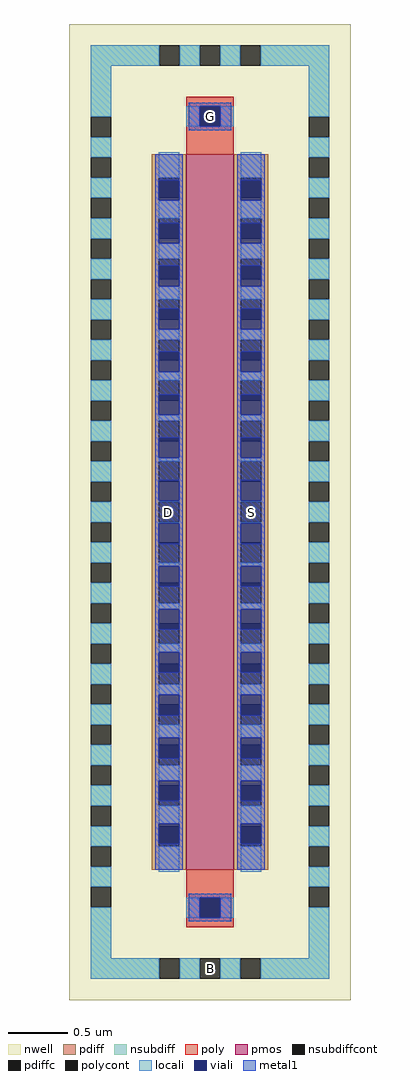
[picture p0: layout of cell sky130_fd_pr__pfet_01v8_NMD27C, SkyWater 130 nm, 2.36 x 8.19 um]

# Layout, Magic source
magic
tech sky130A
magscale 1 2
<< nwell >>
rect -236 -819 236 819
<< pmos >>
rect -40 -600 40 600
<< pdiff >>
rect -98 561 -40 600
rect -98 527 -86 561
rect -52 527 -40 561
rect -98 493 -40 527
rect -98 459 -86 493
rect -52 459 -40 493
rect -98 425 -40 459
rect -98 391 -86 425
rect -52 391 -40 425
rect -98 357 -40 391
rect -98 323 -86 357
rect -52 323 -40 357
rect -98 289 -40 323
rect -98 255 -86 289
rect -52 255 -40 289
rect -98 221 -40 255
rect -98 187 -86 221
rect -52 187 -40 221
rect -98 153 -40 187
rect -98 119 -86 153
rect -52 119 -40 153
rect -98 85 -40 119
rect -98 51 -86 85
rect -52 51 -40 85
rect -98 17 -40 51
rect -98 -17 -86 17
rect -52 -17 -40 17
rect -98 -51 -40 -17
rect -98 -85 -86 -51
rect -52 -85 -40 -51
rect -98 -119 -40 -85
rect -98 -153 -86 -119
rect -52 -153 -40 -119
rect -98 -187 -40 -153
rect -98 -221 -86 -187
rect -52 -221 -40 -187
rect -98 -255 -40 -221
rect -98 -289 -86 -255
rect -52 -289 -40 -255
rect -98 -323 -40 -289
rect -98 -357 -86 -323
rect -52 -357 -40 -323
rect -98 -391 -40 -357
rect -98 -425 -86 -391
rect -52 -425 -40 -391
rect -98 -459 -40 -425
rect -98 -493 -86 -459
rect -52 -493 -40 -459
rect -98 -527 -40 -493
rect -98 -561 -86 -527
rect -52 -561 -40 -527
rect -98 -600 -40 -561
rect 40 561 98 600
rect 40 527 52 561
rect 86 527 98 561
rect 40 493 98 527
rect 40 459 52 493
rect 86 459 98 493
rect 40 425 98 459
rect 40 391 52 425
rect 86 391 98 425
rect 40 357 98 391
rect 40 323 52 357
rect 86 323 98 357
rect 40 289 98 323
rect 40 255 52 289
rect 86 255 98 289
rect 40 221 98 255
rect 40 187 52 221
rect 86 187 98 221
rect 40 153 98 187
rect 40 119 52 153
rect 86 119 98 153
rect 40 85 98 119
rect 40 51 52 85
rect 86 51 98 85
rect 40 17 98 51
rect 40 -17 52 17
rect 86 -17 98 17
rect 40 -51 98 -17
rect 40 -85 52 -51
rect 86 -85 98 -51
rect 40 -119 98 -85
rect 40 -153 52 -119
rect 86 -153 98 -119
rect 40 -187 98 -153
rect 40 -221 52 -187
rect 86 -221 98 -187
rect 40 -255 98 -221
rect 40 -289 52 -255
rect 86 -289 98 -255
rect 40 -323 98 -289
rect 40 -357 52 -323
rect 86 -357 98 -323
rect 40 -391 98 -357
rect 40 -425 52 -391
rect 86 -425 98 -391
rect 40 -459 98 -425
rect 40 -493 52 -459
rect 86 -493 98 -459
rect 40 -527 98 -493
rect 40 -561 52 -527
rect 86 -561 98 -527
rect 40 -600 98 -561
<< pdiffc >>
rect -86 527 -52 561
rect -86 459 -52 493
rect -86 391 -52 425
rect -86 323 -52 357
rect -86 255 -52 289
rect -86 187 -52 221
rect -86 119 -52 153
rect -86 51 -52 85
rect -86 -17 -52 17
rect -86 -85 -52 -51
rect -86 -153 -52 -119
rect -86 -221 -52 -187
rect -86 -289 -52 -255
rect -86 -357 -52 -323
rect -86 -425 -52 -391
rect -86 -493 -52 -459
rect -86 -561 -52 -527
rect 52 527 86 561
rect 52 459 86 493
rect 52 391 86 425
rect 52 323 86 357
rect 52 255 86 289
rect 52 187 86 221
rect 52 119 86 153
rect 52 51 86 85
rect 52 -17 86 17
rect 52 -85 86 -51
rect 52 -153 86 -119
rect 52 -221 86 -187
rect 52 -289 86 -255
rect 52 -357 86 -323
rect 52 -425 86 -391
rect 52 -493 86 -459
rect 52 -561 86 -527
<< nsubdiff >>
rect -200 749 -85 783
rect -51 749 -17 783
rect 17 749 51 783
rect 85 749 200 783
rect -200 663 -166 749
rect -200 595 -166 629
rect 166 663 200 749
rect -200 527 -166 561
rect -200 459 -166 493
rect -200 391 -166 425
rect -200 323 -166 357
rect -200 255 -166 289
rect -200 187 -166 221
rect -200 119 -166 153
rect -200 51 -166 85
rect -200 -17 -166 17
rect -200 -85 -166 -51
rect -200 -153 -166 -119
rect -200 -221 -166 -187
rect -200 -289 -166 -255
rect -200 -357 -166 -323
rect -200 -425 -166 -391
rect -200 -493 -166 -459
rect -200 -561 -166 -527
rect -200 -629 -166 -595
rect 166 595 200 629
rect 166 527 200 561
rect 166 459 200 493
rect 166 391 200 425
rect 166 323 200 357
rect 166 255 200 289
rect 166 187 200 221
rect 166 119 200 153
rect 166 51 200 85
rect 166 -17 200 17
rect 166 -85 200 -51
rect 166 -153 200 -119
rect 166 -221 200 -187
rect 166 -289 200 -255
rect 166 -357 200 -323
rect 166 -425 200 -391
rect 166 -493 200 -459
rect 166 -561 200 -527
rect -200 -749 -166 -663
rect 166 -629 200 -595
rect 166 -749 200 -663
rect -200 -783 -85 -749
rect -51 -783 -17 -749
rect 17 -783 51 -749
rect 85 -783 200 -749
<< nsubdiffcont >>
rect -85 749 -51 783
rect -17 749 17 783
rect 51 749 85 783
rect -200 629 -166 663
rect 166 629 200 663
rect -200 561 -166 595
rect -200 493 -166 527
rect -200 425 -166 459
rect -200 357 -166 391
rect -200 289 -166 323
rect -200 221 -166 255
rect -200 153 -166 187
rect -200 85 -166 119
rect -200 17 -166 51
rect -200 -51 -166 -17
rect -200 -119 -166 -85
rect -200 -187 -166 -153
rect -200 -255 -166 -221
rect -200 -323 -166 -289
rect -200 -391 -166 -357
rect -200 -459 -166 -425
rect -200 -527 -166 -493
rect -200 -595 -166 -561
rect 166 561 200 595
rect 166 493 200 527
rect 166 425 200 459
rect 166 357 200 391
rect 166 289 200 323
rect 166 221 200 255
rect 166 153 200 187
rect 166 85 200 119
rect 166 17 200 51
rect 166 -51 200 -17
rect 166 -119 200 -85
rect 166 -187 200 -153
rect 166 -255 200 -221
rect 166 -323 200 -289
rect 166 -391 200 -357
rect 166 -459 200 -425
rect 166 -527 200 -493
rect 166 -595 200 -561
rect -200 -663 -166 -629
rect 166 -663 200 -629
rect -85 -783 -51 -749
rect -17 -783 17 -749
rect 51 -783 85 -749
<< poly >>
rect -40 681 40 697
rect -40 647 -17 681
rect 17 647 40 681
rect -40 600 40 647
rect -40 -647 40 -600
rect -40 -681 -17 -647
rect 17 -681 40 -647
rect -40 -697 40 -681
<< polycont >>
rect -17 647 17 681
rect -17 -681 17 -647
<< locali >>
rect -200 749 -85 783
rect -51 749 -17 783
rect 17 749 51 783
rect 85 749 200 783
rect -200 663 -166 749
rect -40 647 -17 681
rect 17 647 40 681
rect 166 663 200 749
rect -200 595 -166 629
rect -200 527 -166 561
rect -200 459 -166 493
rect -200 391 -166 425
rect -200 323 -166 357
rect -200 255 -166 289
rect -200 187 -166 221
rect -200 119 -166 153
rect -200 51 -166 85
rect -200 -17 -166 17
rect -200 -85 -166 -51
rect -200 -153 -166 -119
rect -200 -221 -166 -187
rect -200 -289 -166 -255
rect -200 -357 -166 -323
rect -200 -425 -166 -391
rect -200 -493 -166 -459
rect -200 -561 -166 -527
rect -200 -629 -166 -595
rect -86 561 -52 604
rect -86 493 -52 523
rect -86 425 -52 451
rect -86 357 -52 379
rect -86 289 -52 307
rect -86 221 -52 235
rect -86 153 -52 163
rect -86 85 -52 91
rect -86 17 -52 19
rect -86 -19 -52 -17
rect -86 -91 -52 -85
rect -86 -163 -52 -153
rect -86 -235 -52 -221
rect -86 -307 -52 -289
rect -86 -379 -52 -357
rect -86 -451 -52 -425
rect -86 -523 -52 -493
rect -86 -604 -52 -561
rect 52 561 86 604
rect 52 493 86 523
rect 52 425 86 451
rect 52 357 86 379
rect 52 289 86 307
rect 52 221 86 235
rect 52 153 86 163
rect 52 85 86 91
rect 52 17 86 19
rect 52 -19 86 -17
rect 52 -91 86 -85
rect 52 -163 86 -153
rect 52 -235 86 -221
rect 52 -307 86 -289
rect 52 -379 86 -357
rect 52 -451 86 -425
rect 52 -523 86 -493
rect 52 -604 86 -561
rect 166 595 200 629
rect 166 527 200 561
rect 166 459 200 493
rect 166 391 200 425
rect 166 323 200 357
rect 166 255 200 289
rect 166 187 200 221
rect 166 119 200 153
rect 166 51 200 85
rect 166 -17 200 17
rect 166 -85 200 -51
rect 166 -153 200 -119
rect 166 -221 200 -187
rect 166 -289 200 -255
rect 166 -357 200 -323
rect 166 -425 200 -391
rect 166 -493 200 -459
rect 166 -561 200 -527
rect 166 -629 200 -595
rect -200 -749 -166 -663
rect -40 -681 -17 -647
rect 17 -681 40 -647
rect 166 -749 200 -663
rect -200 -783 -85 -749
rect -51 -783 -17 -749
rect 17 -783 51 -749
rect 85 -783 200 -749
<< viali >>
rect -17 647 17 681
rect -86 527 -52 557
rect -86 523 -52 527
rect -86 459 -52 485
rect -86 451 -52 459
rect -86 391 -52 413
rect -86 379 -52 391
rect -86 323 -52 341
rect -86 307 -52 323
rect -86 255 -52 269
rect -86 235 -52 255
rect -86 187 -52 197
rect -86 163 -52 187
rect -86 119 -52 125
rect -86 91 -52 119
rect -86 51 -52 53
rect -86 19 -52 51
rect -86 -51 -52 -19
rect -86 -53 -52 -51
rect -86 -119 -52 -91
rect -86 -125 -52 -119
rect -86 -187 -52 -163
rect -86 -197 -52 -187
rect -86 -255 -52 -235
rect -86 -269 -52 -255
rect -86 -323 -52 -307
rect -86 -341 -52 -323
rect -86 -391 -52 -379
rect -86 -413 -52 -391
rect -86 -459 -52 -451
rect -86 -485 -52 -459
rect -86 -527 -52 -523
rect -86 -557 -52 -527
rect 52 527 86 557
rect 52 523 86 527
rect 52 459 86 485
rect 52 451 86 459
rect 52 391 86 413
rect 52 379 86 391
rect 52 323 86 341
rect 52 307 86 323
rect 52 255 86 269
rect 52 235 86 255
rect 52 187 86 197
rect 52 163 86 187
rect 52 119 86 125
rect 52 91 86 119
rect 52 51 86 53
rect 52 19 86 51
rect 52 -51 86 -19
rect 52 -53 86 -51
rect 52 -119 86 -91
rect 52 -125 86 -119
rect 52 -187 86 -163
rect 52 -197 86 -187
rect 52 -255 86 -235
rect 52 -269 86 -255
rect 52 -323 86 -307
rect 52 -341 86 -323
rect 52 -391 86 -379
rect 52 -413 86 -391
rect 52 -459 86 -451
rect 52 -485 86 -459
rect 52 -527 86 -523
rect 52 -557 86 -527
rect -17 -681 17 -647
<< metal1 >>
rect -36 681 36 687
rect -36 647 -17 681
rect 17 647 36 681
rect -36 641 36 647
rect -92 557 -46 600
rect -92 523 -86 557
rect -52 523 -46 557
rect -92 485 -46 523
rect -92 451 -86 485
rect -52 451 -46 485
rect -92 413 -46 451
rect -92 379 -86 413
rect -52 379 -46 413
rect -92 341 -46 379
rect -92 307 -86 341
rect -52 307 -46 341
rect -92 269 -46 307
rect -92 235 -86 269
rect -52 235 -46 269
rect -92 197 -46 235
rect -92 163 -86 197
rect -52 163 -46 197
rect -92 125 -46 163
rect -92 91 -86 125
rect -52 91 -46 125
rect -92 53 -46 91
rect -92 19 -86 53
rect -52 19 -46 53
rect -92 -19 -46 19
rect -92 -53 -86 -19
rect -52 -53 -46 -19
rect -92 -91 -46 -53
rect -92 -125 -86 -91
rect -52 -125 -46 -91
rect -92 -163 -46 -125
rect -92 -197 -86 -163
rect -52 -197 -46 -163
rect -92 -235 -46 -197
rect -92 -269 -86 -235
rect -52 -269 -46 -235
rect -92 -307 -46 -269
rect -92 -341 -86 -307
rect -52 -341 -46 -307
rect -92 -379 -46 -341
rect -92 -413 -86 -379
rect -52 -413 -46 -379
rect -92 -451 -46 -413
rect -92 -485 -86 -451
rect -52 -485 -46 -451
rect -92 -523 -46 -485
rect -92 -557 -86 -523
rect -52 -557 -46 -523
rect -92 -600 -46 -557
rect 46 557 92 600
rect 46 523 52 557
rect 86 523 92 557
rect 46 485 92 523
rect 46 451 52 485
rect 86 451 92 485
rect 46 413 92 451
rect 46 379 52 413
rect 86 379 92 413
rect 46 341 92 379
rect 46 307 52 341
rect 86 307 92 341
rect 46 269 92 307
rect 46 235 52 269
rect 86 235 92 269
rect 46 197 92 235
rect 46 163 52 197
rect 86 163 92 197
rect 46 125 92 163
rect 46 91 52 125
rect 86 91 92 125
rect 46 53 92 91
rect 46 19 52 53
rect 86 19 92 53
rect 46 -19 92 19
rect 46 -53 52 -19
rect 86 -53 92 -19
rect 46 -91 92 -53
rect 46 -125 52 -91
rect 86 -125 92 -91
rect 46 -163 92 -125
rect 46 -197 52 -163
rect 86 -197 92 -163
rect 46 -235 92 -197
rect 46 -269 52 -235
rect 86 -269 92 -235
rect 46 -307 92 -269
rect 46 -341 52 -307
rect 86 -341 92 -307
rect 46 -379 92 -341
rect 46 -413 52 -379
rect 86 -413 92 -379
rect 46 -451 92 -413
rect 46 -485 52 -451
rect 86 -485 92 -451
rect 46 -523 92 -485
rect 46 -557 52 -523
rect 86 -557 92 -523
rect 46 -600 92 -557
rect -36 -647 36 -641
rect -36 -681 -17 -647
rect 17 -681 36 -647
rect -36 -687 36 -681
<< labels >>
rlabel locali s 0 -766 0 -766 4 B
rlabel locali s -69 0 -69 0 4 D
rlabel locali s 69 0 69 0 4 S
rlabel locali s 0 664 0 664 4 G
<< properties >>
string FIXED_BBOX -183 -766 183 766
<< end >>
